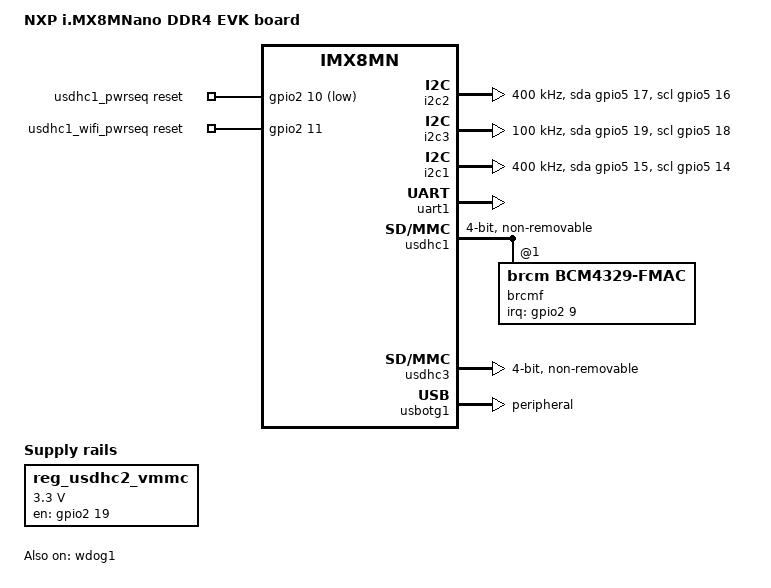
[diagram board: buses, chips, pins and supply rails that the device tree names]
// SPDX-License-Identifier: (GPL-2.0+ OR MIT)
/*
 * Copyright 2019 NXP
 */

/dts-v1/;

#include <dt-bindings/usb/pd.h>
#include "imx8mn.dtsi"

/ {
	model = "NXP i.MX8MNano DDR4 EVK board";
	compatible = "fsl,imx8mn-ddr4-evk", "fsl,imx8mn";

	chosen {
		bootargs = "console=ttymxc0,115200 earlycon=ec_imx6q,0x30860000,115200 root=/dev/mmcblk2p2 nfsroot=192.168.0.101:/srv/nfsroot,vers=4,tcp rw g_ether.dev_addr=f8:dc:7a:00:00:02 g_ether.host_addr=f8:dc:7a:00:00:01 ip=192.168.0.100:192.168.0.101:192.168.0.101:255.255.255.0:arcelik-rvc:usb0:off init=/sbin/init";
		stdout-path = &uart1;
	};

	reg_usdhc2_vmmc: regulator-usdhc2 {
		compatible = "regulator-fixed";
		pinctrl-names = "default";
		pinctrl-0 = <&pinctrl_reg_usdhc2_vmmc>;
		regulator-name = "VSD_3V3";
		regulator-min-microvolt = <3300000>;
		regulator-max-microvolt = <3300000>;
		gpio = <&gpio2 19 GPIO_ACTIVE_HIGH>;
		enable-active-high;
		startup-delay-us = <100>;
		off-on-delay-us = <12000>;
	};

	usdhc1_pwrseq: usdhc1_pwrseq {
		compatible = "mmc-pwrseq-simple";
		pinctrl-names = "default";
		pinctrl-0 = <&pinctrl_usdhc1_gpio>;
		reset-gpios = <&gpio2 10 GPIO_ACTIVE_LOW>;
	};

	usdhc1_wifi_pwrseq: usdhc1_wifi_pwrseq {
		compatible = "mmc-pwrseq-simple";
		pinctrl-names = "default";
		pinctrl-0 = <&pinctrl_usdhc1_wifi_pwen>;
		reset-gpios = <&gpio2 11 GPIO_ACTIVE_HIGH>;
	};
};

&iomuxc {
	pinctrl-names = "default";

	pinctrl_fec1: fec1grp {
		fsl,pins = <
			MX8MN_IOMUXC_ENET_MDC_ENET1_MDC		0x3
			MX8MN_IOMUXC_ENET_MDIO_ENET1_MDIO	0x3
			MX8MN_IOMUXC_ENET_TD3_ENET1_RGMII_TD3	0x1f
			MX8MN_IOMUXC_ENET_TD2_ENET1_RGMII_TD2	0x1f
			MX8MN_IOMUXC_ENET_TD1_ENET1_RGMII_TD1	0x1f
			MX8MN_IOMUXC_ENET_TD0_ENET1_RGMII_TD0	0x1f
			MX8MN_IOMUXC_ENET_RD3_ENET1_RGMII_RD3	0x91
			MX8MN_IOMUXC_ENET_RD2_ENET1_RGMII_RD2	0x91
			MX8MN_IOMUXC_ENET_RD1_ENET1_RGMII_RD1	0x91
			MX8MN_IOMUXC_ENET_RD0_ENET1_RGMII_RD0	0x91
			MX8MN_IOMUXC_ENET_TXC_ENET1_RGMII_TXC	0x1f
			MX8MN_IOMUXC_ENET_RXC_ENET1_RGMII_RXC	0x91
			MX8MN_IOMUXC_ENET_RX_CTL_ENET1_RGMII_RX_CTL	0x91
			MX8MN_IOMUXC_ENET_TX_CTL_ENET1_RGMII_TX_CTL	0x1f
			MX8MN_IOMUXC_SAI2_RXC_GPIO4_IO22	0x19
		>;
	};

	pinctrl_flexspi0: flexspi0grp {
		fsl,pins = <
			MX8MN_IOMUXC_NAND_ALE_QSPI_A_SCLK 0x1c4
			MX8MN_IOMUXC_NAND_CE0_B_QSPI_A_SS0_B 0x84
			MX8MN_IOMUXC_NAND_DQS_QSPI_A_DQS 0x40000084
			MX8MN_IOMUXC_NAND_DATA00_QSPI_A_DATA0 0x84
			MX8MN_IOMUXC_NAND_DATA01_QSPI_A_DATA1 0x84
			MX8MN_IOMUXC_NAND_DATA02_QSPI_A_DATA2 0x84
			MX8MN_IOMUXC_NAND_DATA03_QSPI_A_DATA3 0x84
		>;
	};

	pinctrl_mipi_dsi_en: mipi_dsi_en {
		fsl,pins = <
			MX8MN_IOMUXC_GPIO1_IO08_GPIO1_IO8		0x16
		>;
	};

	pinctrl_i2c1: i2c1grp {
		fsl,pins = <
			MX8MN_IOMUXC_I2C1_SCL_I2C1_SCL		0x400001c3
			MX8MN_IOMUXC_I2C1_SDA_I2C1_SDA		0x400001c3
		>;
	};

	pinctrl_pmic: pmicirq {
		fsl,pins = <
			MX8MN_IOMUXC_GPIO1_IO03_GPIO1_IO3	0x41
		>;
	};

	pinctrl_i2c2: i2c2grp {
		fsl,pins = <
			MX8MN_IOMUXC_I2C2_SCL_I2C2_SCL			0x400001c3
			MX8MN_IOMUXC_I2C2_SDA_I2C2_SDA			0x400001c3
		>;
	};

	pinctrl_i2c3: i2c3grp {
		fsl,pins = <
			MX8MN_IOMUXC_I2C3_SCL_I2C3_SCL			0x400001c3
			MX8MN_IOMUXC_I2C3_SDA_I2C3_SDA			0x400001c3
		>;
	};

	pinctrl_i2c1_gpio: i2c1grp-gpio {
		fsl,pins = <
			MX8MN_IOMUXC_I2C1_SCL_GPIO5_IO14        	0x1c3
			MX8MN_IOMUXC_I2C1_SDA_GPIO5_IO15        	0x1c3
		>;
	};

	pinctrl_i2c2_gpio: i2c2grp-gpio {
		fsl,pins = <
			MX8MN_IOMUXC_I2C2_SCL_GPIO5_IO16		0x1c3
			MX8MN_IOMUXC_I2C2_SDA_GPIO5_IO17		0x1c3
		>;
	};

	pinctrl_i2c3_gpio: i2c3grp-gpio {
		fsl,pins = <
			MX8MN_IOMUXC_I2C3_SCL_GPIO5_IO18		0x1c3
			MX8MN_IOMUXC_I2C3_SDA_GPIO5_IO19		0x1c3
		>;
	};

	pinctrl_reg_usdhc2_vmmc: regusdhc2vmmc {
		fsl,pins = <
			MX8MN_IOMUXC_SD2_RESET_B_GPIO2_IO19	0x41
		>;
	};

	pinctrl_uart2: uart2grp {
		fsl,pins = <
			MX8MN_IOMUXC_UART2_RXD_UART2_DCE_RX	0x140
			MX8MN_IOMUXC_UART2_TXD_UART2_DCE_TX	0x140
		>;
	};

	pinctrl_uart1: uart1grp {
		fsl,pins = <
			MX8MN_IOMUXC_UART1_RXD_UART1_DCE_RX	0x140
			MX8MN_IOMUXC_UART1_TXD_UART1_DCE_TX	0x140
		>;
	};

	pinctrl_usdhc2_gpio: usdhc2grpgpio {
		fsl,pins = <
			MX8MN_IOMUXC_GPIO1_IO15_GPIO1_IO15	0x1c4
		>;
	};

	pinctrl_usdhc2: usdhc2grp {
		fsl,pins = <
			MX8MN_IOMUXC_SD2_CLK_USDHC2_CLK		0x190
			MX8MN_IOMUXC_SD2_CMD_USDHC2_CMD		0x1d0
			MX8MN_IOMUXC_SD2_DATA0_USDHC2_DATA0	0x1d0
			MX8MN_IOMUXC_SD2_DATA1_USDHC2_DATA1	0x1d0
			MX8MN_IOMUXC_SD2_DATA2_USDHC2_DATA2	0x1d0
			MX8MN_IOMUXC_SD2_DATA3_USDHC2_DATA3	0x1d0
			MX8MN_IOMUXC_GPIO1_IO04_USDHC2_VSELECT	0x1d0
		>;
	};

	pinctrl_usdhc2_100mhz: usdhc2grp100mhz {
		fsl,pins = <
			MX8MN_IOMUXC_SD2_CLK_USDHC2_CLK		0x194
			MX8MN_IOMUXC_SD2_CMD_USDHC2_CMD		0x1d4
			MX8MN_IOMUXC_SD2_DATA0_USDHC2_DATA0	0x1d4
			MX8MN_IOMUXC_SD2_DATA1_USDHC2_DATA1	0x1d4
			MX8MN_IOMUXC_SD2_DATA2_USDHC2_DATA2	0x1d4
			MX8MN_IOMUXC_SD2_DATA3_USDHC2_DATA3	0x1d4
			MX8MN_IOMUXC_GPIO1_IO04_USDHC2_VSELECT	0x1d0
		>;
	};

	pinctrl_usdhc2_200mhz: usdhc2grp200mhz {
		fsl,pins = <
			MX8MN_IOMUXC_SD2_CLK_USDHC2_CLK		0x196
			MX8MN_IOMUXC_SD2_CMD_USDHC2_CMD		0x1d6
			MX8MN_IOMUXC_SD2_DATA0_USDHC2_DATA0	0x1d6
			MX8MN_IOMUXC_SD2_DATA1_USDHC2_DATA1	0x1d6
			MX8MN_IOMUXC_SD2_DATA2_USDHC2_DATA2	0x1d6
			MX8MN_IOMUXC_SD2_DATA3_USDHC2_DATA3	0x1d6
			MX8MN_IOMUXC_GPIO1_IO04_USDHC2_VSELECT	0x1d0
		>;
	};

	pinctrl_usdhc3: usdhc3grp {
		fsl,pins = <
			MX8MN_IOMUXC_NAND_WE_B_USDHC3_CLK		0x40000190
			MX8MN_IOMUXC_NAND_WP_B_USDHC3_CMD		0x1d0
			MX8MN_IOMUXC_NAND_DATA04_USDHC3_DATA0		0x1d0
			MX8MN_IOMUXC_NAND_DATA05_USDHC3_DATA1		0x1d0
			MX8MN_IOMUXC_NAND_DATA06_USDHC3_DATA2		0x1d0
			MX8MN_IOMUXC_NAND_DATA07_USDHC3_DATA3		0x1d0
			MX8MN_IOMUXC_NAND_RE_B_USDHC3_DATA4		0x1d0
			MX8MN_IOMUXC_NAND_CE2_B_USDHC3_DATA5		0x1d0
			MX8MN_IOMUXC_NAND_CE3_B_USDHC3_DATA6		0x1d0
			MX8MN_IOMUXC_NAND_CLE_USDHC3_DATA7		0x1d0
			MX8MN_IOMUXC_NAND_CE1_B_USDHC3_STROBE		0x190
		>;
	};

	pinctrl_usdhc3_100mhz: usdhc3grp100mhz {
		fsl,pins = <
			MX8MN_IOMUXC_NAND_WE_B_USDHC3_CLK		0x40000194
			MX8MN_IOMUXC_NAND_WP_B_USDHC3_CMD		0x1d4
			MX8MN_IOMUXC_NAND_DATA04_USDHC3_DATA0		0x1d4
			MX8MN_IOMUXC_NAND_DATA05_USDHC3_DATA1		0x1d4
			MX8MN_IOMUXC_NAND_DATA06_USDHC3_DATA2		0x1d4
			MX8MN_IOMUXC_NAND_DATA07_USDHC3_DATA3		0x1d4
			MX8MN_IOMUXC_NAND_RE_B_USDHC3_DATA4		0x1d4
			MX8MN_IOMUXC_NAND_CE2_B_USDHC3_DATA5		0x1d4
			MX8MN_IOMUXC_NAND_CE3_B_USDHC3_DATA6		0x1d4
			MX8MN_IOMUXC_NAND_CLE_USDHC3_DATA7		0x1d4
			MX8MN_IOMUXC_NAND_CE1_B_USDHC3_STROBE		0x194
		>;
	};

	pinctrl_usdhc3_200mhz: usdhc3grp200mhz {
		fsl,pins = <
			MX8MN_IOMUXC_NAND_WE_B_USDHC3_CLK		0x40000196
			MX8MN_IOMUXC_NAND_WP_B_USDHC3_CMD		0x1d6
			MX8MN_IOMUXC_NAND_DATA04_USDHC3_DATA0		0x1d6
			MX8MN_IOMUXC_NAND_DATA05_USDHC3_DATA1		0x1d6
			MX8MN_IOMUXC_NAND_DATA06_USDHC3_DATA2		0x1d6
			MX8MN_IOMUXC_NAND_DATA07_USDHC3_DATA3		0x1d6
			MX8MN_IOMUXC_NAND_RE_B_USDHC3_DATA4		0x1d6
			MX8MN_IOMUXC_NAND_CE2_B_USDHC3_DATA5		0x1d6
			MX8MN_IOMUXC_NAND_CE3_B_USDHC3_DATA6		0x1d6
			MX8MN_IOMUXC_NAND_CLE_USDHC3_DATA7		0x1d6
			MX8MN_IOMUXC_NAND_CE1_B_USDHC3_STROBE		0x196
		>;
	};

	pinctrl_wdog: wdoggrp {
		fsl,pins = <
			MX8MN_IOMUXC_GPIO1_IO02_WDOG1_WDOG_B		0xc6
		>;
	};

	pinctrl_usdhc1_gpio: usdhc1grpgpio {
		fsl,pins = <
			MX8MN_IOMUXC_SD1_RESET_B_GPIO2_IO10	0x41
		>;
	};

	pinctrl_usdhc1_wifi_pwen: pinctrl_usdhc1_wifi_pwen {
		fsl,pins = <
			MX8MN_IOMUXC_SD1_STROBE_GPIO2_IO11	0x41
		>;
	};

	pinctrl_wlan: wlangrp {
		fsl,pins = <
			MX8MN_IOMUXC_GPIO1_IO00_ANAMIX_REF_CLK_32K	0x141
			MX8MN_IOMUXC_SD1_DATA7_GPIO2_IO9		0x111
		>;
	};

	pinctrl_usdhc1: usdhc1grp {
		fsl,pins = <
			MX8MN_IOMUXC_SD1_CLK_USDHC1_CLK		0x190
			MX8MN_IOMUXC_SD1_CMD_USDHC1_CMD		0x1d0
			MX8MN_IOMUXC_SD1_DATA0_USDHC1_DATA0	0x1d0
			MX8MN_IOMUXC_SD1_DATA1_USDHC1_DATA1	0x1d0
			MX8MN_IOMUXC_SD1_DATA2_USDHC1_DATA2	0x1d0
			MX8MN_IOMUXC_SD1_DATA3_USDHC1_DATA3	0x1d0
		>;
	};

	pinctrl_usdhc1_100mhz: usdhc1grp100mhz {
		fsl,pins = <
			MX8MN_IOMUXC_SD1_CLK_USDHC1_CLK		0x194
			MX8MN_IOMUXC_SD1_CMD_USDHC1_CMD		0x1d4
			MX8MN_IOMUXC_SD1_DATA0_USDHC1_DATA0	0x1d4
			MX8MN_IOMUXC_SD1_DATA1_USDHC1_DATA1	0x1d4
			MX8MN_IOMUXC_SD1_DATA2_USDHC1_DATA2	0x1d4
			MX8MN_IOMUXC_SD1_DATA3_USDHC1_DATA3	0x1d4
		>;
	};

	pinctrl_usdhc1_200mhz: usdhc1grp200mhz {
		fsl,pins = <
			MX8MN_IOMUXC_SD1_CLK_USDHC1_CLK		0x196
			MX8MN_IOMUXC_SD1_CMD_USDHC1_CMD		0x1d6
			MX8MN_IOMUXC_SD1_DATA0_USDHC1_DATA0	0x1d6
			MX8MN_IOMUXC_SD1_DATA1_USDHC1_DATA1	0x1d6
			MX8MN_IOMUXC_SD1_DATA2_USDHC1_DATA2	0x1d6
			MX8MN_IOMUXC_SD1_DATA3_USDHC1_DATA3	0x1d6
		>;
	};
};

&i2c2 {
	clock-frequency = <400000>;
	pinctrl-names = "default", "gpio";
	pinctrl-0 = <&pinctrl_i2c2>;
	pinctrl-1 = <&pinctrl_i2c2_gpio>;
	scl-gpios = <&gpio5 16 GPIO_ACTIVE_HIGH>;
	sda-gpios = <&gpio5 17 GPIO_ACTIVE_HIGH>;
	status = "okay";
};

&i2c3 {
	clock-frequency = <100000>;
	pinctrl-names = "default", "gpio";
	pinctrl-0 = <&pinctrl_i2c3>;
	pinctrl-1 = <&pinctrl_i2c3_gpio>;
	scl-gpios = <&gpio5 18 GPIO_ACTIVE_HIGH>;
	sda-gpios = <&gpio5 19 GPIO_ACTIVE_HIGH>;
	status = "okay";
};

&i2c1 {	
	clock-frequency = <400000>;
	pinctrl-names = "default", "gpio";
	pinctrl-0 = <&pinctrl_i2c1>;
	pinctrl-1 = <&pinctrl_i2c1_gpio>;
	scl-gpios = <&gpio5 14 GPIO_ACTIVE_HIGH>;
	sda-gpios = <&gpio5 15 GPIO_ACTIVE_HIGH>;
	status = "okay";
};

&uart1 { /* console */
	pinctrl-names = "default";
	pinctrl-0 = <&pinctrl_uart1>;
	status = "okay";
};

&usdhc1 {
	pinctrl-names = "default", "state_100mhz", "state_200mhz";
	pinctrl-0 = <&pinctrl_usdhc1>, <&pinctrl_wlan>;
	pinctrl-1 = <&pinctrl_usdhc1_100mhz>, <&pinctrl_wlan>;
	pinctrl-2 = <&pinctrl_usdhc1_200mhz>, <&pinctrl_wlan>;
	bus-width = <4>;
	pm-ignore-notify;
	keep-power-in-suspend;
	non-removable;
	cap-power-off-card;
	/delete-property/ vmmc-supply;
	mmc-pwrseq = <&usdhc1_pwrseq>;
	no-mmc;
	status = "okay";

	brcmf: bcrmf@1 {
		reg = <1>;
		compatible = "brcm,bcm4329-fmac";
		interrupt-parent = <&gpio2>;
		interrupts = <9 IRQ_TYPE_LEVEL_HIGH>;
		interrupt-names = "host-wake";
	};
};

&usdhc3 {
	pinctrl-names = "default", "state_100mhz", "state_200mhz";
	pinctrl-0 = <&pinctrl_usdhc3>;
	pinctrl-1 = <&pinctrl_usdhc3_100mhz>;
	pinctrl-2 = <&pinctrl_usdhc3_200mhz>;
	bus-width = <4>;
	no-1-8-v;
	non-removable;
	status = "okay";
};

&wdog1 {
	pinctrl-names = "default";
	pinctrl-0 = <&pinctrl_wdog>;
	fsl,ext-reset-output;
	status = "okay";
};

&usbotg1 {
	dr_mode = "peripheral";
	status = "okay";
	picophy,pre-emp-curr-control = <3>;
	picophy,dc-vol-level-adjust = <7>;
	srp-disable;
	hnp-disable;
	adp-disable;
};
